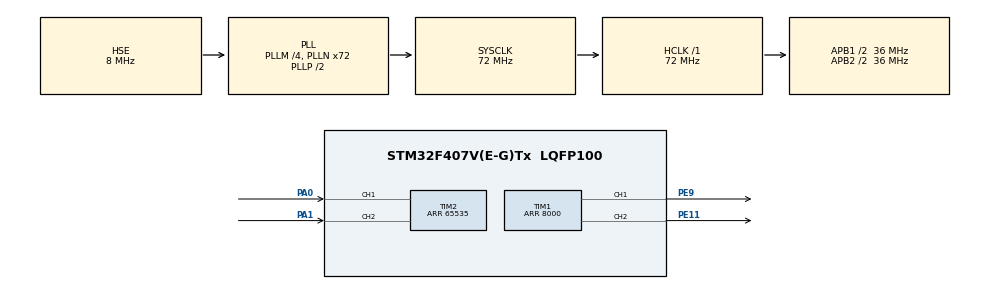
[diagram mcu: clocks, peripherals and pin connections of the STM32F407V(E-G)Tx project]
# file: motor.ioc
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Mcu.Family=STM32F4
Mcu.Name=STM32F407V(E-G)Tx
Mcu.Package=LQFP100
NVIC.PriorityGroup=NVIC_PRIORITYGROUP_4
NVIC.TIM2_IRQn=true\:0\:0\:false\:false\:true\:true\:true\:true
PA0-WKUP.Signal=S_TIM2_CH1_ETR
PA1.Signal=S_TIM2_CH2
PA13.Mode=Serial_Wire
PA13.Signal=SYS_JTMS-SWDIO
PA14.Mode=Serial_Wire
PA14.Signal=SYS_JTCK-SWCLK
PE11.Signal=S_TIM1_CH2
PE9.Signal=S_TIM1_CH1
PH0-OSC_IN.Mode=HSE-External-Oscillator
PH0-OSC_IN.Signal=RCC_OSC_IN
PH1-OSC_OUT.Mode=HSE-External-Oscillator
PH1-OSC_OUT.Signal=RCC_OSC_OUT
ProjectManager.HeapSize=0x200
ProjectManager.StackSize=0x400
ProjectManager.TargetToolchain=MDK-ARM V5.32
RCC.48MHZClocksFreq_Value=36000000
RCC.AHBFreq_Value=72000000
RCC.APB1CLKDivider=RCC_HCLK_DIV2
RCC.APB1Freq_Value=36000000
RCC.APB1TimFreq_Value=72000000
RCC.APB2CLKDivider=RCC_HCLK_DIV2
RCC.APB2Freq_Value=36000000
RCC.APB2TimFreq_Value=72000000
RCC.CortexFreq_Value=72000000
RCC.HCLKFreq_Value=72000000
RCC.HSE_VALUE=8000000
RCC.HSI_VALUE=16000000
RCC.LSE_VALUE=32768
RCC.PLLM=4
RCC.PLLN=72
RCC.PLLSourceVirtual=RCC_PLLSOURCE_HSE
RCC.SYSCLKFreq_VALUE=72000000
RCC.SYSCLKSource=RCC_SYSCLKSOURCE_PLLCLK
RCC.VCOOutputFreq_Value=144000000
SH.S_TIM1_CH1.0=TIM1_CH1,PWM Generation1 CH1
SH.S_TIM1_CH2.0=TIM1_CH2,PWM Generation2 CH2
SH.S_TIM2_CH1_ETR.0=TIM2_CH1,Encoder_Interface
SH.S_TIM2_CH2.0=TIM2_CH2,Encoder_Interface
TIM1.Channel-PWM\ Generation1\ CH1=TIM_CHANNEL_1
TIM1.Channel-PWM\ Generation2\ CH2=TIM_CHANNEL_2
TIM1.Period=8000
TIM2.EncoderMode=TIM_ENCODERMODE_TI12
TIM2.Period=65535
board=custom

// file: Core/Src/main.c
/* USER CODE BEGIN Header */
/**
  ******************************************************************************
  * @file           : main.c
  * @brief          : Main program body
  ******************************************************************************
  * @attention
  *
  * Copyright (c) 2023 STMicroelectronics.
  * All rights reserved.
  *
  * This software is licensed under terms that can be found in the LICENSE file
  * in the root directory of this software component.
  * If no LICENSE file comes with this software, it is provided AS-IS.
  *
  ******************************************************************************
  */
/* USER CODE END Header */
#include "main.h"
#include "tim.h"
#include "gpio.h"
#include "motor.h"
/* USER CODE BEGIN Includes */
float  speed;
float angle;
int zj;
/* USER CODE END Includes */

void SystemClock_Config(void);

int main(void)
{

  /* MCU Configuration--------------------------------------------------------*/

  /* Reset of all peripherals, Initializes the Flash interface and the Systick. */
  HAL_Init();

  /* Configure the system clock */
  SystemClock_Config();

  /* Initialize all configured peripherals */
  MX_GPIO_Init();
  MX_TIM1_Init();
  MX_TIM2_Init();
  /* USER CODE BEGIN 2 */
HAL_TIM_Base_Start_IT(&htim1);
HAL_TIM_Base_Start(&htim1);
HAL_TIM_PWM_Start(&htim1, TIM_CHANNEL_1);
HAL_TIM_PWM_Start(&htim1, TIM_CHANNEL_2);
  HAL_TIM_Encoder_Start(&htim2, TIM_CHANNEL_ALL); //开启编码器模式
  HAL_TIM_Base_Start_IT(&htim2);
  HAL_TIM_Base_Start(&htim2);
//  HAL_TIM_Base_Start_IT(&htim3);
//  HAL_TIM_Base_Start(&htim3);

  /* USER CODE END 2 */

  /* Infinite loop */
  /* USER CODE BEGIN WHILE */
  while (1)
  {

//		speed=Get_Speed();

//		speed=0;
		angle =Get_Angle();
		zj=(short)TIM2->CNT;
		TIM2->CNT=0;
    speed = ((float)zj*3.1415926*2*0.0334)/(0.00091*13500);
//		if(angle>=360)
//		{
//			angle-=360;
//		}
//			if(angle<=-360)
//			{
//				angle+=360;
//			}
HAL_Delay(10);
    /* USER CODE END WHILE */

  }
}

void SystemClock_Config(void)
{
  RCC_OscInitTypeDef RCC_OscInitStruct = {0};
  RCC_ClkInitTypeDef RCC_ClkInitStruct = {0};

  /** Configure the main internal regulator output voltage
  */
  __HAL_RCC_PWR_CLK_ENABLE();
  __HAL_PWR_VOLTAGESCALING_CONFIG(PWR_REGULATOR_VOLTAGE_SCALE1);

  /** Initializes the RCC Oscillators according to the specified parameters
  * in the RCC_OscInitTypeDef structure.
  */
  RCC_OscInitStruct.OscillatorType = RCC_OSCILLATORTYPE_HSE;
  RCC_OscInitStruct.HSEState = RCC_HSE_ON;
  RCC_OscInitStruct.PLL.PLLState = RCC_PLL_ON;
  RCC_OscInitStruct.PLL.PLLSource = RCC_PLLSOURCE_HSE;
  RCC_OscInitStruct.PLL.PLLM = 4;
  RCC_OscInitStruct.PLL.PLLN = 72;
  RCC_OscInitStruct.PLL.PLLP = RCC_PLLP_DIV2;
  RCC_OscInitStruct.PLL.PLLQ = 4;
  if (HAL_RCC_OscConfig(&RCC_OscInitStruct) != HAL_OK)
  {
    Error_Handler();
  }

  /** Initializes the CPU, AHB and APB buses clocks
  */
  RCC_ClkInitStruct.ClockType = RCC_CLOCKTYPE_HCLK|RCC_CLOCKTYPE_SYSCLK
                              |RCC_CLOCKTYPE_PCLK1|RCC_CLOCKTYPE_PCLK2;
  RCC_ClkInitStruct.SYSCLKSource = RCC_SYSCLKSOURCE_PLLCLK;
  RCC_ClkInitStruct.AHBCLKDivider = RCC_SYSCLK_DIV1;
  RCC_ClkInitStruct.APB1CLKDivider = RCC_HCLK_DIV2;
  RCC_ClkInitStruct.APB2CLKDivider = RCC_HCLK_DIV2;

  if (HAL_RCC_ClockConfig(&RCC_ClkInitStruct, FLASH_LATENCY_2) != HAL_OK)
  {
    Error_Handler();
  }
}

void Error_Handler(void)
{
  __disable_irq();
  while (1)
  {
  }
}
